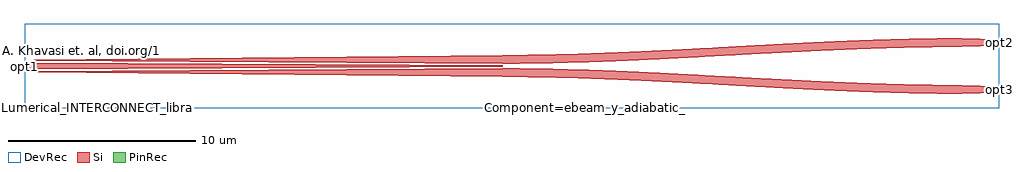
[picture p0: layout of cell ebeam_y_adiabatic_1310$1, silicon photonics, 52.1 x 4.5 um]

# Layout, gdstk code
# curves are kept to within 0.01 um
import gdstk
lib = gdstk.Library(unit=1e-6, precision=1e-09)
def R(c, l, rs):  # rectangles x0, y0, x1, y1
    for r in rs: c.add(gdstk.rectangle(r[:2], r[2:], *l))
def P(c, l, *ps):  # polygons
    for p in ps: c.add(gdstk.Polygon(p, *l))
Si = (1, 0)
PinRec = (1, 10)
DevRec = (68, 0)

ebeam_y_adiabatic_1310_1 = lib.new_cell('ebeam_y_adiabatic_1310$1')
P(ebeam_y_adiabatic_1310_1, Si, [(0.05,-0.175),(0.05,0.175),(0.55,0.175),(25.55,0.03),(25.55,-0.03),(0.55,-0.175)],
  [(25.55,0.13),(0.55,0.275),(0.55,0.335),(26.676,0.585),(28.485,0.615),(30.6,0.678),(32.989,0.777),(40.837,1.191),(44.181,1.346),(47.115,1.44),(50.05,1.475),(50.05,1.025),(47.388,0.996),(44.863,0.922),(41.792,0.789),(34.763,0.414),(31.59,0.266),(28.485,0.165)],
  [(49.743,-1.475),(47.115,-1.44),(44.181,-1.346),(40.837,-1.191),(32.989,-0.777),(30.6,-0.678),(28.655,-0.619),(26.676,-0.585),(0.55,-0.335),(0.55,-0.275),(25.55,-0.13),(28.655,-0.169),(30.6,-0.228),(32.989,-0.327),(40.837,-0.741),(44.181,-0.896),(47.115,-0.99),(50.05,-1.025),(50.05,-1.475)],
  [(50.05,1.025),(50.05,1.475),(52.05,1.425),(52.05,1.075)],
  [(50.05,-1.475),(50.05,-1.025),(52.05,-1.075),(52.05,-1.425)])
R(ebeam_y_adiabatic_1310_1, DevRec, [(0.05,-2.25,52.05,2.25)])
ebeam_y_adiabatic_1310_1.add(gdstk.FlexPath([(52,1.25),(52.1,1.25)], 0.35, ends="flush", simple_path=True, layer=1, datatype=10))  # PinRec
ebeam_y_adiabatic_1310_1.add(gdstk.FlexPath([(52,-1.25),(52.1,-1.25)], 0.35, ends="flush", simple_path=True, layer=1, datatype=10))  # PinRec
ebeam_y_adiabatic_1310_1.add(gdstk.FlexPath([(0.1,0),(0,0)], 0.35, ends="flush", simple_path=True, layer=1, datatype=10))  # PinRec
ebeam_y_adiabatic_1310_1.add(gdstk.Label('Lumerical_INTERCONNECT_library=Design kits/ebeam_beta', (0.59,-2.19), layer=68, texttype=0))
ebeam_y_adiabatic_1310_1.add(gdstk.Label('Component=ebeam_y_adiabatic_1310', (30,-2.19), layer=68, texttype=0))
ebeam_y_adiabatic_1310_1.add(gdstk.Label('A. Khavasi et. al, doi.org/10.1109/JSTQE.2019.2917501 ', (0.59,0.81), layer=68, texttype=0))
ebeam_y_adiabatic_1310_1.add(gdstk.Label('opt3', (52.05,-1.25), layer=1, texttype=10))
ebeam_y_adiabatic_1310_1.add(gdstk.Label('opt2', (52.05,1.25), layer=1, texttype=10))
ebeam_y_adiabatic_1310_1.add(gdstk.Label('opt1', (0.05,0), layer=1, texttype=10))

lib.write_gds('ebeam_y_adiabatic_1310_1.gds')
